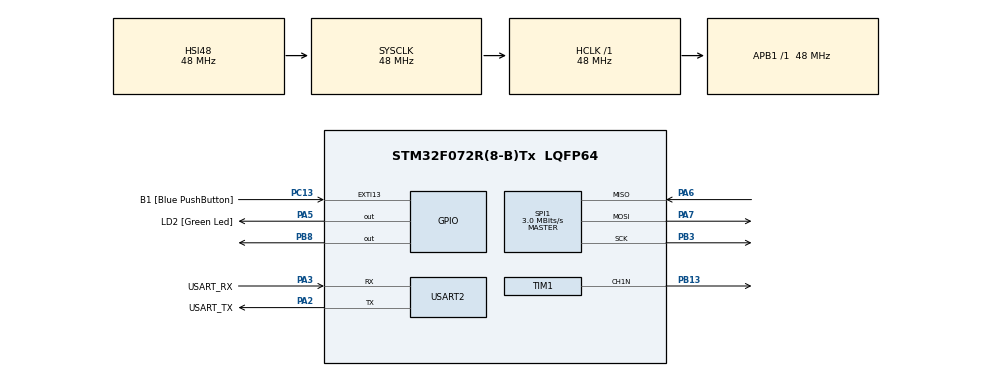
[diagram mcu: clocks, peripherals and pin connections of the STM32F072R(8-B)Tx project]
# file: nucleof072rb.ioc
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Mcu.Family=STM32F0
Mcu.Name=STM32F072R(8-B)Tx
Mcu.Package=LQFP64
PA13.GPIO_Label=TMS
PA13.Mode=Serial_Wire
PA13.Signal=SYS_SWDIO
PA14.GPIO_Label=TCK
PA14.Mode=Serial_Wire
PA14.Signal=SYS_SWCLK
PA2.GPIO_Label=USART_TX
PA2.GPIO_Mode=GPIO_MODE_AF_PP
PA2.GPIO_PuPd=GPIO_NOPULL
PA2.GPIO_Speed=GPIO_SPEED_FREQ_LOW
PA2.Mode=Asynchronous
PA2.Signal=USART2_TX
PA3.GPIO_Label=USART_RX
PA3.GPIO_Mode=GPIO_MODE_AF_PP
PA3.GPIO_PuPd=GPIO_NOPULL
PA3.GPIO_Speed=GPIO_SPEED_FREQ_LOW
PA3.Mode=Asynchronous
PA3.Signal=USART2_RX
PA5.GPIO_Label=LD2 [Green Led]
PA5.GPIO_Mode=GPIO_MODE_OUTPUT_PP
PA5.GPIO_PuPd=GPIO_NOPULL
PA5.GPIO_Speed=GPIO_SPEED_FREQ_LOW
PA5.Signal=GPIO_Output
PA6.Mode=Full_Duplex_Master
PA6.Signal=SPI1_MISO
PA7.Mode=Full_Duplex_Master
PA7.Signal=SPI1_MOSI
PA8.Signal=S_TIM1_CH1
PB13.Mode=Output Compare1 CH1N
PB13.Signal=TIM1_CH1N
PB3.Mode=Full_Duplex_Master
PB3.Signal=SPI1_SCK
PB8.Signal=GPIO_Output
PC13.GPIO_Label=B1 [Blue PushButton]
PC13.GPIO_ModeDefaultEXTI=GPIO_MODE_IT_FALLING
PC13.Signal=GPXTI13
PC14-OSC32_IN.Mode=LSE-External-Oscillator
PC14-OSC32_IN.Signal=RCC_OSC32_IN
PC15-OSC32_OUT.Mode=LSE-External-Oscillator
PC15-OSC32_OUT.Signal=RCC_OSC32_OUT
PF0-OSC_IN.Mode=HSE-External-Clock-Source
PF0-OSC_IN.Signal=RCC_OSC_IN
PF1-OSC_OUT.Signal=RCC_OSC_OUT
ProjectManager.HeapSize=0x200
ProjectManager.StackSize=0x400
ProjectManager.TargetToolchain=STM32CubeIDE
RCC.AHBFreq_Value=48000000
RCC.APB1Freq_Value=48000000
RCC.APB1TimFreq_Value=48000000
RCC.FLatency-AdvancedSettings=FLASH_LATENCY_1
RCC.HCLKFreq_Value=48000000
RCC.PLLDivider=RCC_PREDIV_DIV2
RCC.PLLMUL=RCC_PLL_MUL12
RCC.PREFETCH_ENABLE-AdvancedSettings=1
RCC.SYSCLKFreq_VALUE=48000000
RCC.SYSCLKSource=RCC_SYSCLKSOURCE_HSI48
SH.S_TIM1_CH1.0=TIM1_CH1
SPI1.BaudRatePrescaler=SPI_BAUDRATEPRESCALER_16
SPI1.CalculateBaudRate=3.0 MBits/s
SPI1.DataSize=SPI_DATASIZE_8BIT
SPI1.Direction=SPI_DIRECTION_2LINES
SPI1.Mode=SPI_MODE_MASTER
SPI1.VirtualType=VM_MASTER
TIM1.Channel-Output\ Compare1\ CH1N=TIM_CHANNEL_1
TIM1.Period=63999
TIM1.Prescaler=14
USART2.VirtualMode=VM_ASYNC
USART2.VirtualMode-Asynchronous=VM_ASYNC
VP_TIM1_VS_ClockSourceINT.Mode=Internal
board=NUCLEO-F072RB

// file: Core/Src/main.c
/* USER CODE BEGIN Header */
/**
  ******************************************************************************
  * @file           : main.c
  * @brief          : Main program body
  ******************************************************************************
  * @attention
  *
  * <h2><center>&copy; Copyright (c) 2021 STMicroelectronics.
  * All rights reserved.</center></h2>
  *
  * This software component is licensed by ST under BSD 3-Clause license,
  * the "License"; You may not use this file except in compliance with the
  * License. You may obtain a copy of the License at:
  *                        opensource.org/licenses/BSD-3-Clause
  *
  ******************************************************************************
  */
/* USER CODE END Header */
#include "main.h"
#include "spi.h"
#include "tim.h"
#include "usart.h"
#include "gpio.h"

void SystemClock_Config(void);

int main(void)
{

  /* MCU Configuration--------------------------------------------------------*/

  /* Reset of all peripherals, Initializes the Flash interface and the Systick. */
  HAL_Init();

  /* Configure the system clock */
  SystemClock_Config();

  /* Initialize all configured peripherals */
  MX_GPIO_Init();
  MX_USART2_UART_Init();
  MX_SPI1_Init();
  MX_TIM1_Init();
  /* USER CODE BEGIN 2 */
  HAL_TIM_PWM_Start(&htim1, TIM_CHANNEL_1);
  	  	  uint8_t txData[2]; //creates a 8 bit byte to send data to ADC.
  	  	txData[0] = 0b00000001;                   // start byte
  	  	txData[1] = 0b10000000;                   // channel 0 has configuration 1000 0000 which equals 0x80 in hexidecimal
  	    txData[2] = 0b00000000;       			// dummy

 	  	 uint8_t rxData[3]; //ADC runs on 10 bits but MCU only on 8 so a larger array is needed to accomodate
 	  	 uint16_t adcValue; //10 bit value from ADC use 16 bit because 8 is too small
 	  	 uint32_t PWMvalue; //value to measure ticks for PWM
		#define SPI_TIMEOUT 100U
		#define txLength sizeof(txData)
		#define PWM_MIN 3200U
		#define PWM_MAX 6400U
		#define ADC_MAX 1023U

  /* USER CODE END 2 */

  /* Infinite loop */
  while (1)
  {

    /* USER CODE BEGIN 3 */

	  HAL_GPIO_WritePin(GPIOB, GPIO_PIN_8, GPIO_PIN_RESET); // opens communications for the SPI and ADC

	  // send and receive data from ADC
	  //address, send byte, received byte, # of bytes, timeout time
	  //also creates a variable to check if transmission was successful

	  HAL_StatusTypeDef status = HAL_SPI_TransmitReceive(&hspi1, txData, rxData, txLength, SPI_TIMEOUT);
	      if (status != HAL_OK)
	      {
	          Error_Handler();
	      }

	  	HAL_GPIO_WritePin(GPIOB, GPIO_PIN_8, GPIO_PIN_SET); // end communication

	  	adcValue = ((rxData[1] & 0x03) << 8) | rxData[2];

		// ADC only works in 10 bit but we received data in two 8 bit pieces
		// the [0] contains the left two most bits that we care about
		// the & operator is a bitwise comparator that will cut off all but the first two bits
		// the << 8 will move them 8 spots to there correct spots in a 10 bit number
		// the | will conjoin the rest of the number from [1] into the 10 bit number

		PWMvalue = PWM_MIN + ((adcValue * (PWM_MAX - PWM_MIN)) / ADC_MAX);
		__HAL_TIM_SET_COMPARE(&htim1, TIM_CHANNEL_1, PWMvalue);
		HAL_Delay(10);

  }
  /* USER CODE END 3 */
}

void SystemClock_Config(void)
{
  RCC_OscInitTypeDef RCC_OscInitStruct = {0};
  RCC_ClkInitTypeDef RCC_ClkInitStruct = {0};
  RCC_PeriphCLKInitTypeDef PeriphClkInit = {0};

  /** Initializes the RCC Oscillators according to the specified parameters
  * in the RCC_OscInitTypeDef structure.
  */
  RCC_OscInitStruct.OscillatorType = RCC_OSCILLATORTYPE_HSI48;
  RCC_OscInitStruct.HSI48State = RCC_HSI48_ON;
  RCC_OscInitStruct.PLL.PLLState = RCC_PLL_NONE;
  if (HAL_RCC_OscConfig(&RCC_OscInitStruct) != HAL_OK)
  {
    Error_Handler();
  }
  /** Initializes the CPU, AHB and APB buses clocks
  */
  RCC_ClkInitStruct.ClockType = RCC_CLOCKTYPE_HCLK|RCC_CLOCKTYPE_SYSCLK
                              |RCC_CLOCKTYPE_PCLK1;
  RCC_ClkInitStruct.SYSCLKSource = RCC_SYSCLKSOURCE_HSI48;
  RCC_ClkInitStruct.AHBCLKDivider = RCC_SYSCLK_DIV1;
  RCC_ClkInitStruct.APB1CLKDivider = RCC_HCLK_DIV1;

  if (HAL_RCC_ClockConfig(&RCC_ClkInitStruct, FLASH_LATENCY_1) != HAL_OK)
  {
    Error_Handler();
  }
  PeriphClkInit.PeriphClockSelection = RCC_PERIPHCLK_USART2;
  PeriphClkInit.Usart2ClockSelection = RCC_USART2CLKSOURCE_PCLK1;
  if (HAL_RCCEx_PeriphCLKConfig(&PeriphClkInit) != HAL_OK)
  {
    Error_Handler();
  }
}

void Error_Handler(void)
{
  __disable_irq();
  while (1)
  {
  }
}

/************************ (C) COPYRIGHT STMicroelectronics *****END OF FILE****/
